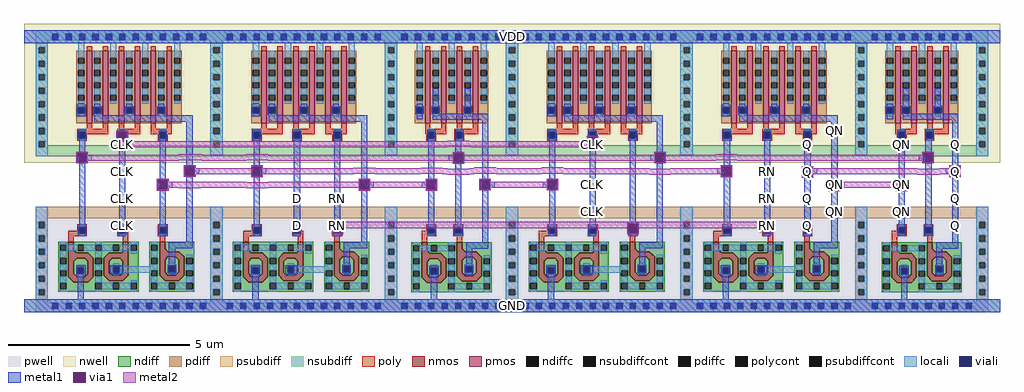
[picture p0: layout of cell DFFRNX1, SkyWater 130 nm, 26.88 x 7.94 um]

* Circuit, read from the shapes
.subckt DFFRNX1 Q QN D CLK RN GND VDD
XM1 n1 n2 GND GND sky130_fd_pr__nfet_01v8 w=2.6 l=0.1484
XM2 n1 CLK n3 GND sky130_fd_pr__nfet_01v8 w=2.52 l=0.1478
XM3 n3 n4 n5 GND sky130_fd_pr__nfet_01v8 w=2.56 l=0.1458
XM4 n6 n5 GND GND sky130_fd_pr__nfet_01v8 w=2.6 l=0.1484
XM5 n6 D n7 GND sky130_fd_pr__nfet_01v8 w=2.52 l=0.1477
XM6 n7 RN n4 GND sky130_fd_pr__nfet_01v8 w=2.56 l=0.1459
XM7 n8 n4 GND GND sky130_fd_pr__nfet_01v8 w=2.6 l=0.1483
XM8 n8 n2 n9 GND sky130_fd_pr__nfet_01v8 w=2.56 l=0.1461
XM9 n10 n9 GND GND sky130_fd_pr__nfet_01v8 w=2.6 l=0.1491
XM10 n10 CLK n11 GND sky130_fd_pr__nfet_01v8 w=2.52 l=0.1478
XM11 n11 RN n2 GND sky130_fd_pr__nfet_01v8 w=2.56 l=0.1461
XM12 n12 n5 GND GND sky130_fd_pr__nfet_01v8 w=2.6 l=0.1491
XM13 n12 RN n13 GND sky130_fd_pr__nfet_01v8 w=2.52 l=0.1477
XM14 n13 Q QN GND sky130_fd_pr__nfet_01v8 w=2.56 l=0.1456
XM15 n14 QN GND GND sky130_fd_pr__nfet_01v8 w=2.6 l=0.1478
XM16 n14 n2 Q GND sky130_fd_pr__nfet_01v8 w=2.56 l=0.1459
XM17 n5 n2 VDD VDD sky130_fd_pr__pfet_01v8 w=2 l=0.15 m=2
XM18 n5 CLK VDD VDD sky130_fd_pr__pfet_01v8 w=2 l=0.15 m=2
XM19 n5 n4 VDD VDD sky130_fd_pr__pfet_01v8 w=2 l=0.15 m=2
XM20 n4 n5 VDD VDD sky130_fd_pr__pfet_01v8 w=2 l=0.15 m=2
XM21 n4 D VDD VDD sky130_fd_pr__pfet_01v8 w=2 l=0.15 m=2
XM22 n4 RN VDD VDD sky130_fd_pr__pfet_01v8 w=2 l=0.15 m=2
XM23 n9 n4 VDD VDD sky130_fd_pr__pfet_01v8 w=2 l=0.15 m=2
XM24 n9 n2 VDD VDD sky130_fd_pr__pfet_01v8 w=2 l=0.15 m=2
XM25 n2 n9 VDD VDD sky130_fd_pr__pfet_01v8 w=2 l=0.15 m=2
XM26 n2 CLK VDD VDD sky130_fd_pr__pfet_01v8 w=2 l=0.15 m=2
XM27 n2 RN VDD VDD sky130_fd_pr__pfet_01v8 w=2 l=0.15 m=2
XM28 QN n5 VDD VDD sky130_fd_pr__pfet_01v8 w=2 l=0.15 m=2
XM29 QN RN VDD VDD sky130_fd_pr__pfet_01v8 w=2 l=0.15 m=2
XM30 QN Q VDD VDD sky130_fd_pr__pfet_01v8 w=2 l=0.15 m=2
XM31 Q QN VDD VDD sky130_fd_pr__pfet_01v8 w=2 l=0.15 m=2
XM32 Q n2 VDD VDD sky130_fd_pr__pfet_01v8 w=2 l=0.15 m=2
.ends

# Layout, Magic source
magic
tech sky130A
magscale 1 2
<< nwell >>
rect 0 822 5376 1588
<< pwell >>
rect 155 19 189 53
rect 64 0 5312 6
<< psubdiff >>
rect 64 0 5312 6
<< nsubdiff >>
rect 64 1550 5312 1552
<< locali >>
rect 0 1482 5376 1552
rect 0 0 5376 70
<< metal1 >>
rect 0 1482 5376 1552
rect 4447 981 4481 1015
rect 5113 981 5147 1015
rect 525 907 559 941
rect 3115 907 3149 941
rect 4299 907 4333 941
rect 4447 907 4481 941
rect 4817 907 4851 941
rect 5113 907 5147 941
rect 5113 833 5147 867
rect 4283 799 4347 805
rect 525 759 559 793
rect 4077 759 4111 793
rect 4283 747 4289 799
rect 4341 747 4347 799
rect 4283 741 4347 747
rect 5097 802 5161 808
rect 5097 750 5103 802
rect 5155 750 5161 802
rect 5097 744 5161 750
rect 4431 725 4495 731
rect 525 685 559 719
rect 3115 685 3149 719
rect 4077 685 4111 719
rect 4299 685 4333 719
rect 4431 673 4437 725
rect 4489 673 4495 725
rect 4431 667 4495 673
rect 4803 725 4867 731
rect 4803 673 4809 725
rect 4861 673 4867 725
rect 5113 685 5147 719
rect 4803 667 4867 673
rect 525 611 559 645
rect 1487 611 1521 645
rect 1709 611 1743 645
rect 3115 611 3149 645
rect 4077 611 4111 645
rect 4299 611 4333 645
rect 4447 611 4481 645
rect 4817 611 4851 645
rect 5113 611 5147 645
rect 525 537 559 571
rect 1487 537 1521 571
rect 1709 537 1743 571
rect 3115 537 3149 571
rect 4077 537 4111 571
rect 4299 537 4333 571
rect 4447 537 4481 571
rect 4817 537 4851 571
rect 5113 537 5147 571
rect 525 463 559 497
rect 1487 463 1521 497
rect 1709 463 1743 497
rect 3115 463 3149 497
rect 4077 463 4111 497
rect 4299 463 4333 497
rect 4447 463 4481 497
rect 5113 463 5147 497
rect 0 0 5376 70
<< via1 >>
rect 4289 747 4341 799
rect 5103 750 5155 802
rect 4437 673 4489 725
rect 4809 673 4861 725
<< metal2 >>
rect 4283 799 4347 805
rect 4283 747 4289 799
rect 4341 793 4347 799
rect 5097 802 5161 808
rect 5097 793 5103 802
rect 4341 791 4920 793
rect 5040 791 5103 793
rect 4341 759 5103 791
rect 4341 747 4347 759
rect 4920 757 5040 759
rect 4283 741 4347 747
rect 5097 750 5103 759
rect 5155 750 5161 802
rect 5097 744 5161 750
rect 4431 725 4495 731
rect 4431 673 4437 725
rect 4489 719 4495 725
rect 4803 725 4867 731
rect 4803 719 4809 725
rect 4489 685 4809 719
rect 4489 673 4495 685
rect 4431 667 4495 673
rect 4803 673 4809 685
rect 4861 673 4867 725
rect 4803 667 4867 673
use dffrnx1_pcell  dffrnx1_pcell_0
transform 1 0 98 0 1 36
box -87 -34 5267 1550
use li1_M1_contact  li1_M1_contact_0
transform -1 0 4316 0 -1 776
box -53 -33 29 33
use li1_M1_contact  li1_M1_contact_1
transform 1 0 4834 0 1 702
box -53 -33 29 33
use li1_M1_contact  li1_M1_contact_2
transform -1 0 4464 0 -1 702
box -53 -33 29 33
use li1_M1_contact  li1_M1_contact_13
transform 1 0 5130 0 1 776
box -53 -33 29 33
<< labels >>
rlabel metal1 5113 759 5147 793 1 Q
port 1 nsew signal output
rlabel metal1 4447 685 4481 719 1 QN
port 2 nsew signal output
rlabel metal1 1487 611 1521 645 1 D
port 3 nsew signal input
rlabel metal1 525 907 559 941 1 CLK
port 4 nsew signal input
rlabel metal1 1709 463 1743 497 1 RN
port 5 nsew signal input
rlabel metal1 525 759 559 793 1 CLK
port 4 nsew signal input
rlabel metal1 525 685 559 719 1 CLK
port 4 nsew signal input
rlabel metal1 525 611 559 645 1 CLK
port 4 nsew signal input
rlabel metal1 525 537 559 571 1 CLK
port 4 nsew signal input
rlabel metal1 525 463 559 497 1 CLK
port 4 nsew signal input
rlabel metal1 3115 685 3149 719 1 CLK
port 4 nsew signal input
rlabel metal1 3115 611 3149 645 1 CLK
port 4 nsew signal input
rlabel metal1 3115 537 3149 571 1 CLK
port 4 nsew signal input
rlabel metal1 3115 463 3149 497 1 CLK
port 4 nsew signal input
rlabel metal1 3115 907 3149 941 1 CLK
port 4 nsew signal input
rlabel metal1 1487 537 1521 571 1 D
port 3 nsew signal input
rlabel metal1 1487 463 1521 497 1 D
port 3 nsew signal input
rlabel metal1 5113 833 5147 867 1 Q
port 1 nsew signal output
rlabel metal1 5113 907 5147 941 1 Q
port 1 nsew signal output
rlabel metal1 5113 981 5147 1015 1 Q
port 1 nsew signal output
rlabel metal1 5113 685 5147 719 1 Q
port 1 nsew signal output
rlabel metal1 5113 611 5147 645 1 Q
port 1 nsew signal output
rlabel metal1 5113 537 5147 571 1 Q
port 1 nsew signal output
rlabel metal1 5113 463 5147 497 1 Q
port 1 nsew signal output
rlabel metal1 4299 907 4333 941 1 Q
port 1 nsew signal output
rlabel metal1 4299 759 4333 793 1 Q
port 1 nsew signal output
rlabel metal1 4299 685 4333 719 1 Q
port 1 nsew signal output
rlabel metal1 4299 611 4333 645 1 Q
port 1 nsew signal output
rlabel metal1 4299 537 4333 571 1 Q
port 1 nsew signal output
rlabel metal1 4299 463 4333 497 1 Q
port 1 nsew signal output
rlabel metal1 4447 611 4481 645 1 QN
port 2 nsew signal output
rlabel metal1 4447 537 4481 571 1 QN
port 2 nsew signal output
rlabel metal1 4447 463 4481 497 1 QN
port 2 nsew signal output
rlabel metal1 4447 981 4481 1015 1 QN
port 2 nsew signal output
rlabel metal1 4447 907 4481 941 1 QN
port 2 nsew signal output
rlabel metal1 4817 685 4851 719 1 QN
port 2 nsew signal output
rlabel metal1 4817 611 4851 645 1 QN
port 2 nsew signal output
rlabel metal1 4817 537 4851 571 1 QN
port 2 nsew signal output
rlabel metal1 4817 907 4851 941 1 QN
port 2 nsew signal output
rlabel metal1 1709 537 1743 571 1 RN
port 5 nsew signal input
rlabel metal1 1709 611 1743 645 1 RN
port 5 nsew signal input
rlabel metal1 4077 463 4111 497 1 RN
port 5 nsew signal input
rlabel metal1 4077 537 4111 571 1 RN
port 5 nsew signal input
rlabel metal1 4077 611 4111 645 1 RN
port 5 nsew signal input
rlabel metal1 4077 685 4111 719 1 RN
port 5 nsew signal input
rlabel metal1 4077 759 4111 793 1 RN
port 5 nsew signal input
rlabel metal1 0 1482 5376 1552 1 VDD
port 6 nsew power bidirectional abutment
rlabel metal1 0 0 5376 70 1 GND
port 6 nsew ground bidirectional abutment
<< properties >>
string FIXED_BBOX 0 0 5376 1552
string LEFclass CORE
string LEFsite unitrh
string LEFsymmetry X Y
<< end >>

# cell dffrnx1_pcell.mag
magic
tech sky130A
magscale 1 2
<< metal1 >>
rect 411 957 475 963
rect 411 905 417 957
rect 469 905 475 957
rect 411 899 475 905
rect 3001 929 3065 935
rect 3001 877 3007 929
rect 3059 877 3065 929
rect 3001 871 3065 877
rect 190 842 254 848
rect 190 790 196 842
rect 248 790 254 842
rect 190 784 254 790
rect 2263 840 2327 846
rect 2263 788 2269 840
rect 2321 788 2327 840
rect 2263 782 2327 788
rect 3373 841 3437 847
rect 3373 789 3379 841
rect 3431 789 3437 841
rect 3373 783 3437 789
rect 4850 841 4914 847
rect 4850 789 4856 841
rect 4908 789 4914 841
rect 4850 783 4914 789
rect 783 767 847 773
rect 783 715 789 767
rect 841 715 847 767
rect 783 709 847 715
rect 1153 766 1217 772
rect 1153 714 1159 766
rect 1211 714 1217 766
rect 1153 708 1217 714
rect 3740 766 3804 772
rect 3740 714 3746 766
rect 3798 714 3804 766
rect 3740 708 3804 714
rect 634 692 698 698
rect 634 640 640 692
rect 692 640 698 692
rect 634 634 698 640
rect 1745 692 1809 698
rect 1745 640 1751 692
rect 1803 640 1809 692
rect 1745 634 1809 640
rect 2114 692 2178 698
rect 2114 640 2120 692
rect 2172 640 2178 692
rect 2114 634 2178 640
rect 2410 693 2474 699
rect 2410 641 2416 693
rect 2468 641 2474 693
rect 2410 635 2474 641
rect 2781 693 2845 699
rect 2781 641 2787 693
rect 2839 641 2845 693
rect 2781 635 2845 641
rect 3955 461 4019 467
rect 1597 451 1661 457
rect 1597 399 1603 451
rect 1655 399 1661 451
rect 1597 393 1661 399
rect 3225 451 3289 457
rect 3225 399 3231 451
rect 3283 399 3289 451
rect 3955 409 3961 461
rect 4013 409 4019 461
rect 3955 403 4019 409
rect 3225 393 3289 399
<< via1 >>
rect 417 905 469 957
rect 3007 877 3059 929
rect 196 790 248 842
rect 2269 788 2321 840
rect 3379 789 3431 841
rect 4856 789 4908 841
rect 789 715 841 767
rect 1159 714 1211 766
rect 3746 714 3798 766
rect 640 640 692 692
rect 1751 640 1803 692
rect 2120 640 2172 692
rect 2416 641 2468 693
rect 2787 641 2839 693
rect 1603 399 1655 451
rect 3231 399 3283 451
rect 3961 409 4013 461
<< metal2 >>
rect 411 957 475 963
rect 411 905 417 957
rect 469 905 475 957
rect 3001 929 3065 935
rect 2235 905 2355 908
rect 3001 905 3007 929
rect 411 899 3007 905
rect 426 877 3007 899
rect 3059 877 3065 929
rect 426 874 3065 877
rect 426 872 2235 874
rect 430 871 2235 872
rect 2355 871 3065 874
rect 190 842 254 848
rect 190 790 196 842
rect 248 831 254 842
rect 2263 840 2327 846
rect 754 831 882 835
rect 1125 831 1245 834
rect 2263 831 2269 840
rect 248 801 2269 831
rect 248 797 754 801
rect 882 800 2269 801
rect 882 797 1125 800
rect 1245 797 2269 800
rect 248 790 254 797
rect 190 784 254 790
rect 2263 788 2269 797
rect 2321 831 2327 840
rect 3373 841 3437 847
rect 3373 831 3379 841
rect 2321 797 3379 831
rect 2321 788 2327 797
rect 2263 782 2327 788
rect 3373 789 3379 797
rect 3431 831 3437 841
rect 4850 841 4914 847
rect 3712 831 3832 834
rect 4850 831 4856 841
rect 3431 800 4856 831
rect 3431 797 3712 800
rect 3832 797 4856 800
rect 3431 789 3437 797
rect 3373 783 3437 789
rect 4850 789 4856 797
rect 4908 789 4914 841
rect 4850 783 4914 789
rect 783 767 847 773
rect 783 715 789 767
rect 841 757 847 767
rect 1153 766 1217 772
rect 1153 757 1159 766
rect 841 723 1159 757
rect 841 715 847 723
rect 783 709 847 715
rect 1153 714 1159 723
rect 1211 757 1217 766
rect 3740 766 3804 772
rect 1717 757 1837 760
rect 2086 757 2206 760
rect 2382 757 2502 761
rect 2753 757 2873 761
rect 3740 757 3746 766
rect 1211 754 2235 757
rect 2355 755 3345 757
rect 3465 755 3746 757
rect 2355 754 3746 755
rect 1211 727 3746 754
rect 1211 726 2382 727
rect 1211 723 1717 726
rect 1837 723 2086 726
rect 2206 723 2382 726
rect 2502 723 2753 727
rect 2873 723 3746 727
rect 1211 714 1217 723
rect 2235 720 2355 723
rect 3345 721 3465 723
rect 1153 708 1217 714
rect 3740 714 3746 723
rect 3798 714 3804 766
rect 3740 708 3804 714
rect 634 692 698 698
rect 634 640 640 692
rect 692 683 698 692
rect 1745 692 1809 698
rect 1745 683 1751 692
rect 692 681 755 683
rect 875 681 1125 683
rect 692 680 1125 681
rect 1245 680 1751 683
rect 692 649 1751 680
rect 692 640 698 649
rect 755 647 875 649
rect 1125 646 1245 649
rect 634 634 698 640
rect 1745 640 1751 649
rect 1803 683 1809 692
rect 2114 692 2178 698
rect 2114 683 2120 692
rect 1803 649 2120 683
rect 1803 640 1809 649
rect 1745 634 1809 640
rect 2114 640 2120 649
rect 2172 640 2178 692
rect 2114 634 2178 640
rect 2410 693 2474 699
rect 2410 641 2416 693
rect 2468 683 2474 693
rect 2781 693 2845 699
rect 2781 683 2787 693
rect 2468 649 2787 683
rect 2468 641 2474 649
rect 2410 635 2474 641
rect 2781 641 2787 649
rect 2839 641 2845 693
rect 2781 635 2845 641
rect 3955 461 4019 467
rect 1607 457 3961 461
rect 1597 451 3961 457
rect 1597 399 1603 451
rect 1655 427 3231 451
rect 1655 399 1661 427
rect 1597 393 1661 399
rect 3225 399 3231 427
rect 3283 427 3961 451
rect 3283 399 3289 427
rect 3955 409 3961 427
rect 4013 409 4019 461
rect 3955 403 4019 409
rect 3225 393 3289 399
use li1_M1_contact  li1_M1_contact_1
transform -1 0 814 0 -1 740
box -53 -33 29 33
use li1_M1_contact  li1_M1_contact_2
transform 1 0 2146 0 1 666
box -53 -33 29 33
use li1_M1_contact  li1_M1_contact_3
transform -1 0 666 0 -1 666
box -53 -33 29 33
use li1_M1_contact  li1_M1_contact_5
transform -1 0 222 0 -1 814
box -53 -33 29 33
use li1_M1_contact  li1_M1_contact_7
transform -1 0 1776 0 -1 666
box -53 -33 29 33
use li1_M1_contact  li1_M1_contact_8
transform 1 0 3774 0 1 740
box -53 -33 29 33
use li1_M1_contact  li1_M1_contact_9
transform -1 0 1184 0 -1 740
box -53 -33 29 33
use li1_M1_contact  li1_M1_contact_10
transform 1 0 2294 0 1 814
box -53 -33 29 33
use li1_M1_contact  li1_M1_contact_11
transform 1 0 3404 0 1 814
box -53 -33 29 33
use li1_M1_contact  li1_M1_contact_13
transform 1 0 4884 0 1 814
box -53 -33 29 33
use li1_M1_contact  li1_M1_contact_14
transform -1 0 2442 0 -1 666
box -53 -33 29 33
use li1_M1_contact  li1_M1_contact_15
transform 1 0 2812 0 1 666
box -53 -33 29 33
use nand2x1_pcell  nand2x1_pcell_0
transform 1 0 1924 0 1 0
box -87 -34 753 1550
use nand2x1_pcell  nand2x1_pcell_1
transform 1 0 4514 0 1 0
box -87 -34 753 1550
use nand3x1_pcell  nand3x1_pcell_0
transform 1 0 0 0 1 0
box -87 -34 1049 1550
use nand3x1_pcell  nand3x1_pcell_1
transform 1 0 962 0 1 0
box -87 -34 1049 1550
use nand3x1_pcell  nand3x1_pcell_3
transform 1 0 2590 0 1 0
box -87 -34 1049 1550
use nand3x1_pcell  nand3x1_pcell_4
transform 1 0 3552 0 1 0
box -87 -34 1049 1550
<< end >>

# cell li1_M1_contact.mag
magic
tech sky130A
magscale 1 2
<< locali >>
rect -17 17 17 33
rect -17 -33 17 -17
<< viali >>
rect -17 -17 17 17
<< metal1 >>
rect -23 17 23 23
rect -53 -17 -17 17
rect 17 -17 29 17
rect -23 -23 23 -17
<< end >>

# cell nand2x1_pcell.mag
magic
tech sky130A
magscale 1 2
<< nwell >>
rect 87 786 579 1550
<< pwell >>
rect 34 542 632 544
rect -31 -30 697 542
rect 34 -34 632 -30
<< pdiff >>
rect 223 1093 269 1100
rect 223 1059 229 1093
rect 263 1059 269 1093
rect 223 1053 269 1059
rect 399 1093 445 1100
rect 399 1059 405 1093
rect 439 1059 445 1093
rect 399 1053 445 1059
<< pdiffc >>
rect 141 1059 175 1093
rect 229 1059 263 1093
rect 405 1059 439 1093
<< psubdiff >>
rect 34 542 632 544
rect 31 482 635 542
rect 31 480 34 482
rect 632 480 635 482
rect 31 -17 57 17
rect 91 -17 131 17
rect 165 -17 205 17
rect 239 -17 279 17
rect 313 -17 353 17
rect 387 -17 427 17
rect 461 -17 501 17
rect 535 -17 575 17
rect 609 -17 635 17
rect 31 -30 635 -17
rect 34 -34 632 -30
<< nsubdiff >>
rect 34 1497 632 1514
rect 34 1463 57 1497
rect 91 1463 131 1497
rect 165 1463 205 1497
rect 239 1463 279 1497
rect 313 1463 353 1497
rect 387 1463 427 1497
rect 461 1463 501 1497
rect 535 1463 575 1497
rect 609 1463 632 1497
rect 34 822 632 884
<< psubdiffcont >>
rect 57 -17 91 17
rect 131 -17 165 17
rect 205 -17 239 17
rect 279 -17 313 17
rect 353 -17 387 17
rect 427 -17 461 17
rect 501 -17 535 17
rect 575 -17 609 17
<< nsubdiffcont >>
rect 57 1463 91 1497
rect 131 1463 165 1497
rect 205 1463 239 1497
rect 279 1463 313 1497
rect 353 1463 387 1497
rect 427 1463 461 1497
rect 501 1463 535 1497
rect 575 1463 609 1497
<< poly >>
rect 168 375 198 413
rect 362 382 392 383
<< locali >>
rect -34 1497 634 1514
rect -34 1463 57 1497
rect 91 1463 131 1497
rect 165 1463 205 1497
rect 239 1463 279 1497
rect 313 1463 353 1497
rect 387 1463 427 1497
rect 461 1463 501 1497
rect 535 1463 575 1497
rect 609 1463 634 1497
rect -34 1446 634 1463
rect 141 1093 175 1122
rect 141 1043 175 1059
rect 229 1093 263 1122
rect 229 1043 263 1059
rect 405 1093 439 1122
rect 405 1043 439 1059
rect 33 17 659 34
rect 33 -17 57 17
rect 91 -17 131 17
rect 165 -17 205 17
rect 239 -17 279 17
rect 313 -17 353 17
rect 387 -17 427 17
rect 461 -17 501 17
rect 535 -17 575 17
rect 609 -17 659 17
rect 33 -34 659 -17
<< viali >>
rect 57 1463 91 1497
rect 131 1463 165 1497
rect 205 1463 239 1497
rect 279 1463 313 1497
rect 353 1463 387 1497
rect 427 1463 461 1497
rect 501 1463 535 1497
rect 575 1463 609 1497
rect 141 1059 175 1093
rect 229 1059 263 1093
rect 405 1059 439 1093
rect 205 923 239 957
rect 359 923 393 957
rect 205 399 239 433
rect 353 399 387 433
rect 219 174 253 208
rect 413 183 447 217
rect 57 -17 91 17
rect 131 -17 165 17
rect 205 -17 239 17
rect 279 -17 313 17
rect 353 -17 387 17
rect 427 -17 461 17
rect 501 -17 535 17
rect 575 -17 609 17
<< metal1 >>
rect -34 1497 700 1514
rect -34 1463 57 1497
rect 91 1463 131 1497
rect 165 1463 205 1497
rect 239 1463 279 1497
rect 313 1463 353 1497
rect 387 1463 427 1497
rect 461 1463 501 1497
rect 535 1463 575 1497
rect 609 1463 700 1497
rect -34 1446 700 1463
rect 141 1100 175 1111
rect 229 1100 263 1196
rect 405 1100 439 1196
rect 135 1093 181 1100
rect 135 1059 141 1093
rect 175 1059 181 1093
rect 135 1053 181 1059
rect 223 1093 269 1100
rect 223 1059 229 1093
rect 263 1059 269 1093
rect 223 1057 269 1059
rect 399 1093 445 1100
rect 399 1059 405 1093
rect 439 1059 445 1093
rect 399 1057 445 1059
rect 223 1053 535 1057
rect 141 1027 175 1053
rect 229 1023 535 1053
rect 199 957 246 969
rect 199 923 205 957
rect 239 923 246 957
rect 199 912 246 923
rect 353 957 399 969
rect 353 923 359 957
rect 393 923 399 957
rect 353 916 399 923
rect 205 441 239 912
rect 353 911 394 916
rect 353 441 387 911
rect 198 433 246 441
rect 198 399 205 433
rect 239 399 246 433
rect 198 387 246 399
rect 347 433 394 441
rect 347 399 353 433
rect 387 399 394 433
rect 347 387 394 399
rect 501 348 535 1023
rect 413 314 535 348
rect 413 224 447 314
rect 209 208 262 220
rect 209 174 219 208
rect 253 174 262 208
rect 209 165 262 174
rect 407 217 453 224
rect 407 183 413 217
rect 447 183 453 217
rect 407 171 453 183
rect 219 34 253 165
rect -34 17 700 34
rect -34 -17 57 17
rect 91 -17 131 17
rect 165 -17 205 17
rect 239 -17 279 17
rect 313 -17 353 17
rect 387 -17 427 17
rect 461 -17 501 17
rect 535 -17 575 17
rect 609 -17 700 17
rect -34 -34 700 -17
use diff_ring_side  diff_ring_side_0
transform 1 0 666 0 1 0
box -87 -34 87 1550
use diff_ring_side  diff_ring_side_1
transform 1 0 0 0 1 0
box -87 -34 87 1550
use nmos_bottom  nmos_bottom_0
transform -1 0 360 0 1 73
box 0 0 248 302
use nmos_top_trim1  nmos_top_trim1_0
transform -1 0 554 0 1 73
box 0 0 248 309
use pmos2  pmos2_0
transform 1 0 43 0 1 1404
box 52 -461 352 42
use pmos2  pmos2_1
transform 1 0 219 0 1 1404
box 52 -461 352 42
use poly_li1_contact  poly_li1_contact_0
transform 0 1 223 -1 0 941
box -32 -28 34 26
use poly_li1_contact  poly_li1_contact_1
transform 0 1 223 -1 0 417
box -32 -28 34 26
use poly_li1_contact  poly_li1_contact_2
transform 0 -1 369 1 0 415
box -32 -28 34 26
use poly_li1_contact  poly_li1_contact_3
transform 0 1 377 -1 0 941
box -32 -28 34 26
<< end >>

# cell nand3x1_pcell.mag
magic
tech sky130A
magscale 1 2
<< nwell >>
rect 87 1099 875 1550
rect 87 1093 220 1099
rect 87 1059 205 1093
rect 229 1059 263 1093
rect 87 1056 220 1059
rect 279 1056 875 1099
rect 87 786 875 1056
<< pwell >>
rect 34 -34 928 544
<< pdiffc >>
rect 201 1059 235 1093
rect 289 1059 323 1093
rect 465 1059 499 1093
rect 641 1059 675 1093
<< psubdiff >>
rect 34 482 928 544
rect 34 -17 57 17
rect 91 -17 131 17
rect 165 -17 205 17
rect 239 -17 279 17
rect 313 -17 353 17
rect 387 -17 427 17
rect 461 -17 501 17
rect 535 -17 575 17
rect 609 -17 649 17
rect 683 -17 723 17
rect 757 -17 797 17
rect 831 -17 871 17
rect 905 -17 928 17
rect 34 -34 928 -17
<< nsubdiff >>
rect 34 1497 928 1514
rect 34 1463 57 1497
rect 91 1463 131 1497
rect 165 1463 205 1497
rect 239 1463 279 1497
rect 313 1463 353 1497
rect 387 1463 427 1497
rect 461 1463 501 1497
rect 535 1463 575 1497
rect 609 1463 649 1497
rect 683 1463 723 1497
rect 757 1463 797 1497
rect 831 1463 871 1497
rect 905 1463 928 1497
rect 34 822 928 884
<< psubdiffcont >>
rect 57 -17 91 17
rect 131 -17 165 17
rect 205 -17 239 17
rect 279 -17 313 17
rect 353 -17 387 17
rect 427 -17 461 17
rect 501 -17 535 17
rect 575 -17 609 17
rect 649 -17 683 17
rect 723 -17 757 17
rect 797 -17 831 17
rect 871 -17 905 17
<< nsubdiffcont >>
rect 57 1463 91 1497
rect 131 1463 165 1497
rect 205 1463 239 1497
rect 279 1463 313 1497
rect 353 1463 387 1497
rect 427 1463 461 1497
rect 501 1463 535 1497
rect 575 1463 609 1497
rect 649 1463 683 1497
rect 723 1463 757 1497
rect 797 1463 831 1497
rect 871 1463 905 1497
<< poly >>
rect 147 383 195 413
rect 471 383 477 413
rect 147 377 177 383
rect 447 377 477 383
<< locali >>
rect 14 1497 943 1514
rect 14 1463 57 1497
rect 91 1463 131 1497
rect 165 1463 205 1497
rect 239 1463 279 1497
rect 313 1463 353 1497
rect 387 1463 427 1497
rect 461 1463 501 1497
rect 535 1463 575 1497
rect 609 1463 649 1497
rect 683 1463 723 1497
rect 757 1463 797 1497
rect 831 1463 871 1497
rect 905 1463 943 1497
rect 14 1446 943 1463
rect 201 1093 235 1120
rect 201 1043 235 1059
rect 289 1093 323 1112
rect 289 1043 323 1059
rect 465 1093 499 1117
rect 465 1043 499 1059
rect 641 1093 675 1112
rect 641 1043 675 1059
rect 427 182 603 216
rect 34 17 930 34
rect 34 -17 57 17
rect 91 -17 131 17
rect 165 -17 205 17
rect 239 -17 279 17
rect 313 -17 353 17
rect 387 -17 427 17
rect 461 -17 501 17
rect 535 -17 575 17
rect 609 -17 649 17
rect 683 -17 723 17
rect 757 -17 797 17
rect 831 -17 871 17
rect 905 -17 930 17
rect 34 -34 930 -17
<< viali >>
rect 57 1463 91 1497
rect 131 1463 165 1497
rect 205 1463 239 1497
rect 279 1463 313 1497
rect 353 1463 387 1497
rect 427 1463 461 1497
rect 501 1463 535 1497
rect 575 1463 609 1497
rect 649 1463 683 1497
rect 723 1463 757 1497
rect 797 1463 831 1497
rect 871 1463 905 1497
rect 201 1059 235 1093
rect 289 1059 323 1093
rect 465 1059 499 1093
rect 641 1059 675 1093
rect 205 923 239 957
rect 427 923 461 957
rect 649 923 683 957
rect 205 399 239 433
rect 427 399 461 433
rect 649 399 683 433
rect 198 176 232 210
rect 393 182 427 216
rect 700 185 734 219
rect 57 -17 91 17
rect 131 -17 165 17
rect 205 -17 239 17
rect 279 -17 313 17
rect 353 -17 387 17
rect 427 -17 461 17
rect 501 -17 535 17
rect 575 -17 609 17
rect 649 -17 683 17
rect 723 -17 757 17
rect 797 -17 831 17
rect 871 -17 905 17
<< metal1 >>
rect 34 1497 928 1514
rect 34 1463 57 1497
rect 91 1463 131 1497
rect 165 1463 205 1497
rect 239 1463 279 1497
rect 313 1463 353 1497
rect 387 1463 427 1497
rect 461 1463 501 1497
rect 535 1463 575 1497
rect 609 1463 649 1497
rect 683 1463 723 1497
rect 757 1463 797 1497
rect 831 1463 871 1497
rect 905 1463 928 1497
rect 34 1446 928 1463
rect 201 1107 235 1116
rect 193 1093 241 1107
rect 289 1099 323 1111
rect 465 1099 499 1111
rect 641 1099 675 1111
rect 193 1059 201 1093
rect 235 1059 241 1093
rect 193 1043 241 1059
rect 283 1093 330 1099
rect 283 1059 289 1093
rect 323 1059 330 1093
rect 283 1048 330 1059
rect 458 1093 506 1099
rect 458 1059 465 1093
rect 499 1059 506 1093
rect 458 1048 506 1059
rect 635 1093 681 1099
rect 635 1059 641 1093
rect 675 1059 681 1093
rect 635 1048 681 1059
rect 289 1014 831 1048
rect 205 967 239 969
rect 198 957 246 967
rect 427 963 461 969
rect 649 963 683 969
rect 198 923 205 957
rect 239 923 246 957
rect 198 915 246 923
rect 421 957 467 963
rect 421 923 427 957
rect 461 923 467 957
rect 421 917 467 923
rect 643 957 689 963
rect 643 923 649 957
rect 683 923 689 957
rect 205 439 239 915
rect 427 439 461 917
rect 643 914 689 923
rect 649 439 683 914
rect 199 433 245 439
rect 199 399 205 433
rect 239 399 245 433
rect 199 391 245 399
rect 421 433 468 439
rect 421 399 427 433
rect 461 399 468 433
rect 421 391 468 399
rect 643 433 689 439
rect 643 399 649 433
rect 683 399 689 433
rect 643 391 689 399
rect 205 383 239 391
rect 427 383 461 391
rect 649 383 683 391
rect 797 350 831 1014
rect 700 316 831 350
rect 700 225 734 316
rect 189 210 241 222
rect 189 176 198 210
rect 232 176 241 210
rect 189 167 241 176
rect 378 216 445 223
rect 378 182 393 216
rect 427 182 445 216
rect 378 173 445 182
rect 694 219 740 225
rect 694 185 700 219
rect 734 185 740 219
rect 694 179 740 185
rect 700 173 734 179
rect 198 34 232 167
rect 34 17 928 34
rect 34 -17 57 17
rect 91 -17 131 17
rect 165 -17 205 17
rect 239 -17 279 17
rect 313 -17 353 17
rect 387 -17 427 17
rect 461 -17 501 17
rect 535 -17 575 17
rect 609 -17 649 17
rect 683 -17 723 17
rect 757 -17 797 17
rect 831 -17 871 17
rect 905 -17 928 17
rect 34 -34 928 -17
use diff_ring_side  diff_ring_side_0
transform 1 0 962 0 1 0
box -87 -34 87 1550
use diff_ring_side  diff_ring_side_1
transform 1 0 0 0 1 0
box -87 -34 87 1550
use nmos_bottom  nmos_bottom_0
transform -1 0 339 0 1 75
box 0 0 248 302
use nmos_side_left  nmos_side_left_0
transform 1 0 285 0 1 75
box 0 0 248 302
use nmos_top_trim1  nmos_top_trim1_0
transform -1 0 841 0 1 75
box 0 0 248 309
use pmos2  pmos2_0
transform 1 0 103 0 1 1404
box 52 -461 352 42
use pmos2  pmos2_1
transform 1 0 279 0 1 1404
box 52 -461 352 42
use pmos2  pmos2_2
transform 1 0 455 0 1 1404
box 52 -461 352 42
use poly_li1_contact  poly_li1_contact_0
transform 0 1 223 -1 0 941
box -32 -28 34 26
use poly_li1_contact  poly_li1_contact_1
transform 0 -1 221 1 0 415
box -32 -28 34 26
use poly_li1_contact  poly_li1_contact_2
transform 0 -1 443 1 0 415
box -32 -28 34 26
use poly_li1_contact  poly_li1_contact_3
transform 0 -1 443 1 0 939
box -32 -28 34 26
use poly_li1_contact  poly_li1_contact_4
transform 0 -1 665 1 0 415
box -32 -28 34 26
use poly_li1_contact  poly_li1_contact_5
transform 0 1 667 -1 0 941
box -32 -28 34 26
<< end >>

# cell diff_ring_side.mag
magic
tech sky130A
magscale 1 2
<< nwell >>
rect -87 786 87 1550
<< pwell >>
rect -34 -34 34 544
<< psubdiff >>
rect -34 461 34 544
rect -34 427 -17 461
rect 17 427 34 461
rect -34 387 34 427
rect -34 353 -17 387
rect 17 353 34 387
rect -34 313 34 353
rect -34 279 -17 313
rect 17 279 34 313
rect -34 239 34 279
rect -34 205 -17 239
rect 17 205 34 239
rect -34 165 34 205
rect -34 131 -17 165
rect 17 131 34 165
rect -34 91 34 131
rect -34 57 -17 91
rect 17 57 34 91
rect -34 -34 34 57
<< nsubdiff >>
rect -34 1423 34 1514
rect -34 1389 -17 1423
rect 17 1389 34 1423
rect -34 1349 34 1389
rect -34 1315 -17 1349
rect 17 1315 34 1349
rect -34 1275 34 1315
rect -34 1241 -17 1275
rect 17 1241 34 1275
rect -34 1201 34 1241
rect -34 1167 -17 1201
rect 17 1167 34 1201
rect -34 1127 34 1167
rect -34 1093 -17 1127
rect 17 1093 34 1127
rect -34 1053 34 1093
rect -34 1019 -17 1053
rect 17 1019 34 1053
rect -34 979 34 1019
rect -34 945 -17 979
rect 17 945 34 979
rect -34 905 34 945
rect -34 871 -17 905
rect 17 871 34 905
rect -34 822 34 871
<< psubdiffcont >>
rect -17 427 17 461
rect -17 353 17 387
rect -17 279 17 313
rect -17 205 17 239
rect -17 131 17 165
rect -17 57 17 91
<< nsubdiffcont >>
rect -17 1389 17 1423
rect -17 1315 17 1349
rect -17 1241 17 1275
rect -17 1167 17 1201
rect -17 1093 17 1127
rect -17 1019 17 1053
rect -17 945 17 979
rect -17 871 17 905
<< locali >>
rect -34 1423 34 1514
rect -34 1389 -17 1423
rect 17 1389 34 1423
rect -34 1349 34 1389
rect -34 1315 -17 1349
rect 17 1315 34 1349
rect -34 1275 34 1315
rect -34 1241 -17 1275
rect 17 1241 34 1275
rect -34 1201 34 1241
rect -34 1167 -17 1201
rect 17 1167 34 1201
rect -34 1127 34 1167
rect -34 1093 -17 1127
rect 17 1093 34 1127
rect -34 1053 34 1093
rect -34 1019 -17 1053
rect 17 1019 34 1053
rect -34 979 34 1019
rect -34 945 -17 979
rect 17 945 34 979
rect -34 905 34 945
rect -34 871 -17 905
rect 17 871 34 905
rect -34 822 34 871
rect -34 461 34 544
rect -34 427 -17 461
rect 17 427 34 461
rect -34 387 34 427
rect -34 353 -17 387
rect 17 353 34 387
rect -34 313 34 353
rect -34 279 -17 313
rect 17 279 34 313
rect -34 239 34 279
rect -34 205 -17 239
rect 17 205 34 239
rect -34 165 34 205
rect -34 131 -17 165
rect 17 131 34 165
rect -34 91 34 131
rect -34 57 -17 91
rect 17 57 34 91
rect -34 -34 34 57
<< metal1 >>
rect -34 1446 34 1514
rect -34 -34 34 34
<< end >>

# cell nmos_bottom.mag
magic
tech sky130A
magscale 1 2
<< nmos >>
tri 146 215 162 231 se
rect 162 215 192 276
tri 56 185 86 215 se
rect 86 185 192 215
rect 56 84 86 185
tri 86 169 102 185 nw
tri 146 169 162 185 ne
tri 86 84 102 100 sw
tri 146 84 162 100 se
rect 162 84 192 185
tri 56 54 86 84 ne
rect 86 54 162 84
tri 162 54 192 84 nw
<< ndiff >>
rect 0 260 162 276
rect 0 226 10 260
rect 44 226 107 260
rect 141 231 162 260
rect 141 226 146 231
rect 0 215 146 226
tri 146 215 162 231 nw
rect 192 260 248 276
rect 192 226 204 260
rect 238 226 248 260
rect 0 188 56 215
rect 0 154 10 188
rect 44 154 56 188
tri 56 185 86 215 nw
rect 192 188 248 226
rect 0 120 56 154
rect 0 86 10 120
rect 44 86 56 120
rect 0 54 56 86
tri 86 169 102 185 se
rect 102 169 146 185
tri 146 169 162 185 sw
rect 86 135 162 169
rect 86 101 107 135
rect 141 101 162 135
rect 86 100 162 101
tri 86 84 102 100 ne
rect 102 84 146 100
tri 146 84 162 100 nw
rect 192 154 204 188
rect 238 154 248 188
rect 192 120 248 154
rect 192 86 204 120
rect 238 86 248 120
tri 56 54 86 84 sw
tri 162 54 192 84 se
rect 192 54 248 86
rect 0 50 248 54
rect 0 16 10 50
rect 44 16 204 50
rect 238 16 248 50
rect 0 0 248 16
<< ndiffc >>
rect 10 226 44 260
rect 107 226 141 260
rect 204 226 238 260
rect 10 154 44 188
rect 10 86 44 120
rect 107 101 141 135
rect 204 154 238 188
rect 204 86 238 120
rect 10 16 44 50
rect 204 16 238 50
<< poly >>
rect 162 276 192 302
<< locali >>
rect 10 260 44 276
rect 204 260 238 276
rect 44 226 107 260
rect 141 226 204 260
rect 10 188 44 226
rect 10 120 44 154
rect 204 188 238 226
rect 10 50 44 86
rect 107 135 141 151
rect 107 85 141 101
rect 204 120 238 154
rect 10 0 44 16
rect 204 50 238 86
rect 204 0 238 16
<< end >>

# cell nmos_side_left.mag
magic
tech sky130
magscale 1 2
<< nmos >>
rect 162 215 192 276
tri 57 185 87 215 se
rect 87 185 192 215
rect 57 91 87 185
tri 87 169 103 185 nw
tri 146 169 162 185 ne
tri 87 91 103 107 sw
tri 146 91 162 107 se
rect 162 91 192 185
tri 57 61 87 91 ne
rect 87 61 162 91
tri 162 61 192 91 nw
<< ndiff >>
rect 0 260 162 276
rect 0 226 10 260
rect 44 226 107 260
rect 141 226 162 260
rect 0 215 162 226
rect 192 260 248 276
rect 192 226 204 260
rect 238 226 248 260
rect 0 188 57 215
rect 0 154 10 188
rect 44 154 57 188
tri 57 185 87 215 nw
rect 0 120 57 154
rect 0 86 10 120
rect 44 86 57 120
tri 87 169 103 185 se
rect 103 169 146 185
tri 146 169 162 185 sw
rect 87 141 162 169
rect 87 107 108 141
rect 142 107 162 141
tri 87 91 103 107 ne
rect 103 91 146 107
tri 146 91 162 107 nw
rect 0 61 57 86
tri 57 61 87 91 sw
tri 162 61 192 91 se
rect 192 61 248 226
rect 0 50 248 61
rect 0 16 10 50
rect 44 16 107 50
rect 141 16 204 50
rect 238 16 248 50
rect 0 0 248 16
<< ndiffc >>
rect 10 226 44 260
rect 107 226 141 260
rect 204 226 238 260
rect 10 154 44 188
rect 10 86 44 120
rect 108 107 142 141
rect 10 16 44 50
rect 107 16 141 50
rect 204 16 238 50
<< poly >>
rect 162 276 192 302
<< locali >>
rect 10 260 44 276
rect 204 260 238 276
rect 44 226 107 260
rect 141 226 204 260
rect 10 188 44 226
rect 204 210 238 226
rect 10 120 44 154
rect 108 141 142 157
rect 108 91 142 107
rect 10 50 44 86
rect 204 50 238 66
rect 44 16 107 50
rect 141 16 204 50
rect 10 0 44 16
rect 204 0 238 16
<< end >>

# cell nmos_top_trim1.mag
magic
tech sky130
magscale 1 2
<< nmos >>
tri 146 223 162 239 se
rect 162 223 192 276
tri 56 193 86 223 se
rect 86 193 192 223
rect 56 92 86 193
tri 86 177 102 193 nw
tri 146 177 162 193 ne
tri 86 92 102 108 sw
tri 146 92 162 108 se
rect 162 92 192 193
tri 56 62 86 92 ne
rect 86 62 162 92
tri 162 62 192 92 nw
<< ndiff >>
rect 0 239 162 276
rect 0 223 146 239
tri 146 223 162 239 nw
rect 192 260 248 276
rect 192 226 204 260
rect 238 226 248 260
rect 0 188 56 223
tri 56 193 86 223 nw
rect 0 154 10 188
rect 44 154 56 188
rect 0 120 56 154
rect 0 86 10 120
rect 44 86 56 120
tri 86 177 102 193 se
rect 102 177 146 193
tri 146 177 162 193 sw
rect 86 144 162 177
rect 86 110 107 144
rect 141 110 162 144
rect 86 108 162 110
tri 86 92 102 108 ne
rect 102 92 146 108
tri 146 92 162 108 nw
rect 192 188 248 226
rect 192 154 204 188
rect 238 154 248 188
rect 192 120 248 154
rect 0 62 56 86
tri 56 62 86 92 sw
tri 162 62 192 92 se
rect 192 86 204 120
rect 238 86 248 120
rect 192 62 248 86
rect 0 50 248 62
rect 0 16 10 50
rect 44 16 107 50
rect 141 16 204 50
rect 238 16 248 50
rect 0 0 248 16
<< ndiffc >>
rect 204 226 238 260
rect 10 154 44 188
rect 10 86 44 120
rect 107 110 141 144
rect 204 154 238 188
rect 204 86 238 120
rect 10 16 44 50
rect 107 16 141 50
rect 204 16 238 50
<< poly >>
rect 162 276 192 309
<< locali >>
rect 204 260 238 276
rect 10 188 44 204
rect 204 188 238 226
rect 10 120 44 154
rect 107 144 141 161
rect 107 94 141 110
rect 204 120 238 154
rect 10 50 44 86
rect 204 50 238 86
rect 44 16 107 50
rect 141 16 204 50
rect 10 0 44 16
rect 204 0 238 16
<< end >>

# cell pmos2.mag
magic
tech sky130A
magscale 1 2
<< nwell >>
rect 52 -436 352 36
<< pmos >>
rect 144 -400 174 0
rect 232 -400 262 0
<< pdiff >>
rect 88 -38 144 0
rect 88 -72 98 -38
rect 132 -72 144 -38
rect 88 -106 144 -72
rect 88 -140 98 -106
rect 132 -140 144 -106
rect 88 -174 144 -140
rect 88 -208 98 -174
rect 132 -208 144 -174
rect 88 -242 144 -208
rect 88 -276 98 -242
rect 132 -276 144 -242
rect 88 -400 144 -276
rect 174 -38 232 0
rect 174 -72 186 -38
rect 220 -72 232 -38
rect 174 -106 232 -72
rect 174 -140 186 -106
rect 220 -140 232 -106
rect 174 -174 232 -140
rect 174 -208 186 -174
rect 220 -208 232 -174
rect 174 -242 232 -208
rect 174 -276 186 -242
rect 220 -276 232 -242
rect 174 -400 232 -276
rect 262 -38 316 0
rect 262 -72 274 -38
rect 308 -72 316 -38
rect 262 -106 316 -72
rect 262 -140 274 -106
rect 308 -140 316 -106
rect 262 -174 316 -140
rect 262 -208 274 -174
rect 308 -208 316 -174
rect 262 -242 316 -208
rect 262 -276 274 -242
rect 308 -276 316 -242
rect 262 -400 316 -276
<< pdiffc >>
rect 98 -72 132 -38
rect 98 -140 132 -106
rect 98 -208 132 -174
rect 98 -276 132 -242
rect 186 -72 220 -38
rect 186 -140 220 -106
rect 186 -208 220 -174
rect 186 -276 220 -242
rect 274 -72 308 -38
rect 274 -140 308 -106
rect 274 -208 308 -174
rect 274 -276 308 -242
<< poly >>
rect 144 0 174 26
rect 232 0 262 26
rect 144 -431 174 -400
rect 232 -431 262 -400
rect 144 -461 262 -431
<< locali >>
rect 98 -38 132 42
rect 98 -106 132 -72
rect 98 -174 132 -140
rect 98 -242 132 -208
rect 98 -293 132 -276
rect 186 -38 220 0
rect 186 -106 220 -72
rect 186 -174 220 -140
rect 186 -242 220 -208
rect 186 -293 220 -276
rect 274 -38 308 42
rect 274 -106 308 -72
rect 274 -174 308 -140
rect 274 -242 308 -208
rect 274 -293 308 -276
<< end >>

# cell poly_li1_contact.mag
magic
tech sky130
<< poly >>
rect -16 8 17 13
rect -16 -9 -8 8
rect 9 -9 17 8
rect -16 -14 17 -9
<< polycont >>
rect -8 -9 9 8
<< locali >>
rect -16 -9 -8 8
rect 9 -9 17 8
<< end >>
